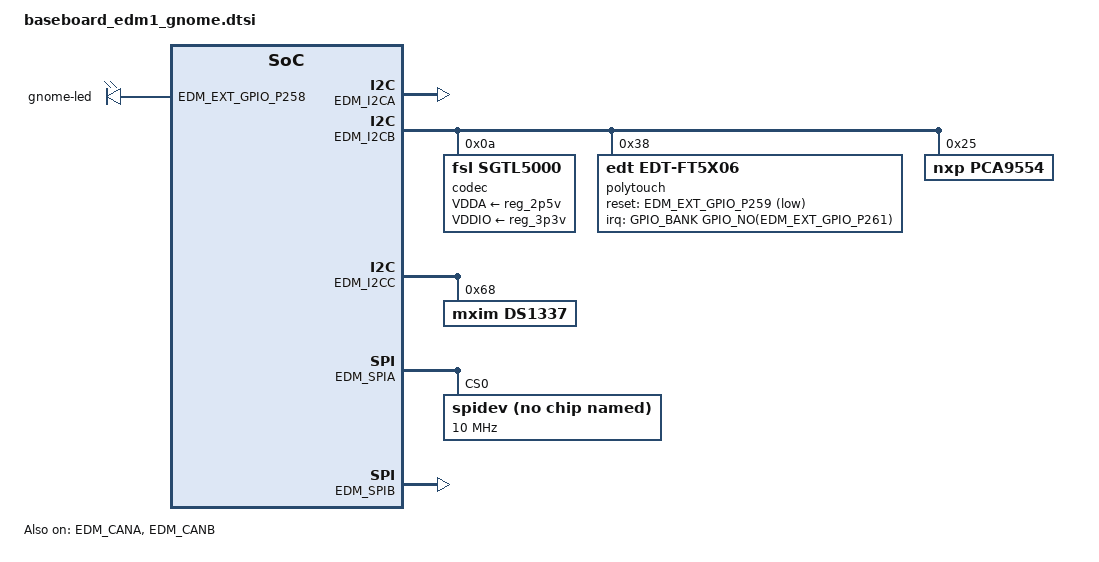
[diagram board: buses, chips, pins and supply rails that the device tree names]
/*
 * Copyright 2018 TechNexion Ltd.
 *
 * Author: Tapani Utriainen <tapani@technexion.com>
 *	   Richard Hu <richard.hu@technexion.com>
 *	   Ray Chang <ray.chang@technexion.com>
 *
 * This program is free software; you can redistribute it and/or modify
 * it under the terms of the GNU General Public License version 2 as
 * published by the Free Software Foundation.
 *
 */

#include "tnmacro.h"

#define EXGPIO_0 pca9554 0
#define EXGPIO_1 pca9554 1
#define EXGPIO_2 pca9554 2
#define EXGPIO_3 pca9554 3
#define EXGPIO_4 pca9554 4
#define EXGPIO_5 pca9554 5
#define EXGPIO_6 pca9554 6
#define EXGPIO_7 pca9554 7

/ {
	gpio-edm {
		compatible = "gpio-edm";
		ex-gpio_0 {
			label = "EXGPIO_0";
			gpios = <&EXGPIO_0 GPIO_ACTIVE_HIGH>;
			dir   = "out";
		};
		ex-gpio_1 {
			label = "EXGPIO_1";
			gpios = <&EXGPIO_1 GPIO_ACTIVE_HIGH>;
			dir   = "out";
		};
		ex-gpio_2 {
			label = "EXGPIO_2";
			gpios = <&EXGPIO_2 GPIO_ACTIVE_HIGH>;
			dir   = "out";
		};
		ex-gpio_3 {
			label = "EXGPIO_3";
			gpios = <&EXGPIO_3 GPIO_ACTIVE_HIGH>;
			dir   = "out";
		};
		ex-gpio_4 {
			label = "EXGPIO_4";
			gpios = <&EXGPIO_4 GPIO_ACTIVE_HIGH>;
			dir   = "out";
		};
		ex-gpio_5 {
			label = "EXGPIO_5";
			gpios = <&EXGPIO_5 GPIO_ACTIVE_HIGH>;
			dir   = "out";
		};
		ex-gpio_6 {
			label = "EXGPIO_6";
			gpios = <&EXGPIO_6 GPIO_ACTIVE_HIGH>;
			dir   = "out";
		};
		gpio_p255 {
			label = "GPIO_P255";
			gpios = <&EDM_EXT_GPIO_P255 GPIO_ACTIVE_HIGH>;
			dir   = "out";
		};
		gpio_p256 {
			label = "GPIO_P256";
			gpios = <&EDM_EXT_GPIO_P256 GPIO_ACTIVE_HIGH>;
			dir   = "out";
		};
		gpio_p260 {
			label = "GPIO_P260";
			gpios = <&EDM_EXT_GPIO_P260 GPIO_ACTIVE_HIGH>;
			dir   = "out";
		};
		gpio_p262 {
			label = "GPIO_P262";
			gpios = <&EDM_EXT_GPIO_P262 GPIO_ACTIVE_HIGH>;
			dir   = "out";
		};
		gpio_p263 {
			label = "GPIO_P263";
			gpios = <&EDM_EXT_GPIO_P263 GPIO_ACTIVE_HIGH>;
			dir   = "out";
		};
		gpio_p264 {
			label = "GPIO_P264";
			gpios = <&EDM_EXT_GPIO_P264 GPIO_ACTIVE_HIGH>;
			dir   = "out";
		};
	};

	sound {
		compatible = "fsl,imx-sgtl5000",
			     "fsl,imx-audio-sgtl5000";
		model = "audio-sgtl5000";
		ssi-controller = <&EDM_AUDA_I2S_CHANNEL>;
		audio-codec = <&codec>;
		audio-routing =
			"MIC_IN", "Mic Jack",
			"Mic Jack", "Mic Bias",
			"Headphone Jack", "HP_OUT";
#if defined(EDM_AUDA_MUX_INT) && defined(EDM_AUDA_MUX_EXT)
		mux-int-port = <EDM_AUDA_MUX_INT>;
		mux-ext-port = <EDM_AUDA_MUX_EXT>;
#else
		fsl,no-audmux = "true";
#endif
	};

	gpio-leds {
		compatible = "gpio-leds";
		gnome-led {
			label = "gnome-led";
			gpios = <&EDM_EXT_GPIO_P258 GPIO_ACTIVE_HIGH>;
			default-state = "off";
		};
	};

	sound-spdif {
		status = "disabled";
	};

	backlight_lvds {
		status = "disabled";
	};
};

&EDM_I2CA {
	status = "okay";
};

&EDM_I2CB {
	status = "okay";

	codec: sgtl5000@0a {
		compatible = "fsl,sgtl5000";
		reg = <0x0a>;
		clocks = <&EDM_AUDA_CLK_SRC>;
		VDDA-supply = <&reg_2p5v>;
		VDDIO-supply = <&reg_3p3v>;
	};

	polytouch: edt-ft5x06@38 {
		compatible = "edt,edt-ft5x06";
		reg = <0x38>;
		interrupt-parent = <&GPIO_BANK(EDM_EXT_GPIO_P261)>; /* GPIO_P261 J1B-261 */
		reset-gpios = <&EDM_EXT_GPIO_P259 GPIO_ACTIVE_LOW>; /* GPIO_P259 J1B-259 */
		interrupts = <GPIO_NO(EDM_EXT_GPIO_P261) 0>;
		touchscreen-size-x = <800>;
		touchscreen-size-y = <480>;
	};

	pca9554: pca9554@25 {
		compatible = "nxp,pca9554";
		reg = <0x25>;
		gpio-controller;
		#gpio-cells = <2>;
		#interrupt-cells = <2>;
	};
};

&EDM_I2CC {
	status = "okay";

	ds1337: rtc@68 {
		compatible = "mxim,ds1337";
		reg = <0x68>;
	};
};

&EDM_SPIA {
	status = "okay";

	spidev@0 {
		compatible = "rohm,dh2228fv";
		spi-max-frequency = <10000000>;
		reg = <0>;
	};
};

&EDM_SPIB {
	status = "okay";
};

&EDM_CANA {
	status = "okay";
};

&EDM_CANB {
	status = "okay";
};

